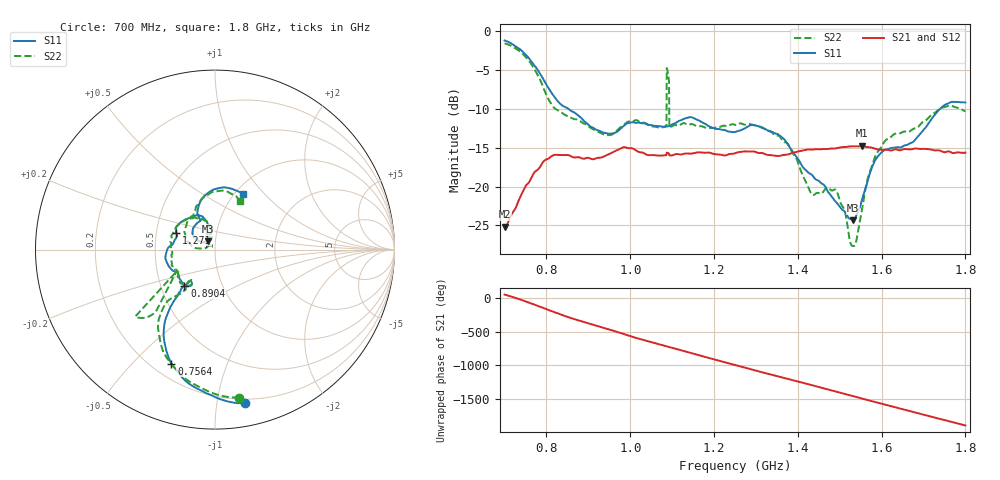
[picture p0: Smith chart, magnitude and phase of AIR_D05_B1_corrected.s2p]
! Created with skrf 1.9.0 (http://scikit-rf.org).
# Hz S RI R 50.0
!freq ReS11 ImS11 ReS21 ImS21 ReS12 ImS12 ReS22 ImS22
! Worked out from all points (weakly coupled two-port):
!   1601 points, 700 MHz to 1.8 GHz, reference 50 ohm
!   highest |S21| = -14.74 dB at 1.553 GHz (marker M1); lowest = -25.1 dB at 700 MHz (marker M2)
!   lowest |S11| = -24.3 dB at 1.532 GHz (marker M3), VSWR 1.13, Z = 45.9 + j4.17 ohm
!   |S11| at or under -10 dB: 852.9 MHz to 1.739 GHz (886.3 MHz wide, 68.4 % of centre)
!   |S22| runs from -27.7 to -1.6 dB; largest |S21 - S12| = 0.0032
!   S11 on the Smith chart (normalised r, x): 700 MHz: 0.17, -1.20; 756.4 MHz: 0.28, -0.65; 890.4 MHz: 0.66, -0.28; 1.271 GHz: 0.63, +0.13; 1.8 GHz: 1.09, +0.77
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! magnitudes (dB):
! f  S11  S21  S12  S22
! 700 MHz  -1.2  -25.1  -24.9  -1.6
! 756.4 MHz  -3.4  -19.6  -19.4  -3.7
! 816.2 MHz  -8.2  -16.0  -16.1  -9.7
! 883.6 MHz  -11.2  -16.3  -16.2  -11.7
! 890.4 MHz  -11.6  -16.4  -16.3  -11.9
! 1.067 GHz  -12.2  -16.0  -16.0  -12.4
! 1.081 GHz  -12.3  -16.0  -16.0  -12.3
! 1.087 GHz  -12.3  -15.6  -15.6  -4.7
! 1.093 GHz  -12.2  -15.8  -15.8  -6.4
! 1.099 GHz  -12.0  -16.0  -16.0  -12.3
! 1.25 GHz  -13.0  -15.7  -15.6  -12.0
! 1.271 GHz  -12.5  -15.5  -15.5  -12.0
! 1.374 GHz  -14.4  -15.9  -15.8  -14.4
! 1.434 GHz  -18.5  -15.2  -15.2  -21.0
! 1.491 GHz  -22.0  -15.1  -15.0  -20.4
! 1.532 GHz  -24.3  -14.8  -14.8  -27.7
! 1.553 GHz  -21.7  -14.7  -14.8  -23.0
! 1.583 GHz  -16.8  -15.1  -15.1  -16.4
! 1.617 GHz  -15.1  -15.3  -15.2  -13.8
! 1.675 GHz  -14.3  -15.1  -15.2  -12.6
! 1.745 GHz  -9.7  -15.5  -15.4  -9.8
! 1.8 GHz  -9.2  -15.6  -15.6  -10.3
